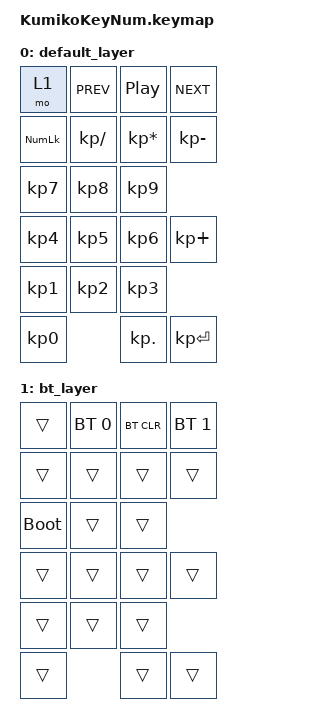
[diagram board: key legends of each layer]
#include <behaviors.dtsi>
#include <dt-bindings/zmk/keys.h>
#include <dt-bindings/zmk/bt.h>

/ {
    keymap {
        compatible = "zmk,keymap";

        default_layer {
// -------------------------
// | MO_1|  ⏮  |  ⏯  |  ⏭  |
// | NUM |  /  |  *  |  -  |
// |  7  |  8  |  9  |  +  |
// |  4  |  5  |  6  |  +  |
// |  1  |  2  |  3  | ENT |
// |     0     |  .  | ENT |
            bindings = <
    &mo 1       &kp C_PREV  &kp C_PP     &kp C_NEXT
    &kp KP_NLCK &kp KP_SLASH &kp KP_MULTIPLY &kp KP_MINUS
    &kp KP_N7   &kp KP_N8   &kp KP_N9   
    &kp KP_N4   &kp KP_N5   &kp KP_N6   &kp KP_PLUS
    &kp KP_N1   &kp KP_N2   &kp KP_N3   
    &kp KP_N0               &kp KP_DOT  &kp KP_ENTER
            >;
        };
        bt_layer {
// -------------------------
// | MO_1| BT1 |BTCLR| BT2 | 
// |    |    |    |    |
// |    |    |    |    |
// |    |    |    |    |
// |    |    |    |    |
// |    |    |    |    |
            bindings = <
    &trans      &bt BT_SEL 0 &bt BT_CLR &bt BT_SEL 1
    &trans      &trans      &trans      &trans
    &bootloader &trans      &trans
    &trans      &trans      &trans      &trans
    &trans      &trans      &trans
    &trans                  &trans      &trans
            >;
        }
    };
};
